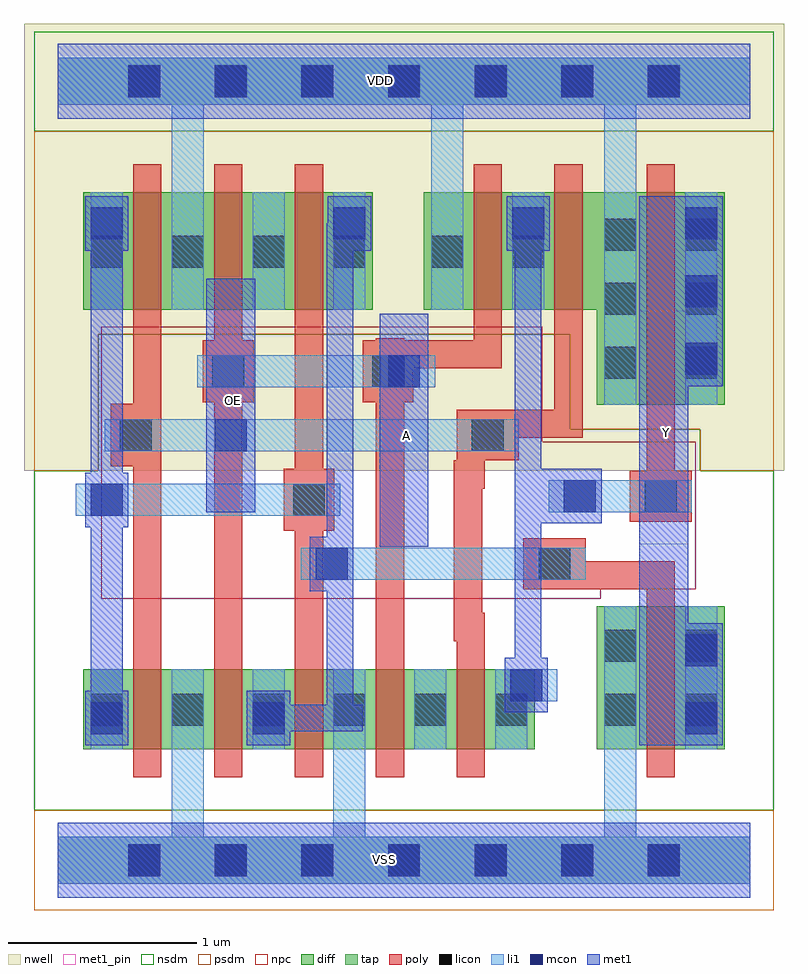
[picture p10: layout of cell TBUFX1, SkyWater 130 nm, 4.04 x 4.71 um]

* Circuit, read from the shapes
.subckt TBUFX1 A OE VDD VSS Y
XM1 VSS OE n1 VSS sky130_fd_pr__nfet_01v8 w=0.425 l=0.15
XM2 n2 A VSS VSS sky130_fd_pr__nfet_01v8 w=0.425 l=0.15
XM3 VSS n1 n2 VSS sky130_fd_pr__nfet_01v8 w=0.425 l=0.15
XM4 n3 A VSS VSS sky130_fd_pr__nfet_01v8 w=0.425 l=0.15
XM5 n4 OE n3 VSS sky130_fd_pr__nfet_01v8 w=0.425 l=0.15
XM6 Y n2 VSS VSS sky130_fd_pr__nfet_01v8 w=0.76 l=0.15
XM7 VDD OE n1 VDD sky130_fd_pr__pfet_01v8 w=0.625 l=0.15
XM8 n5 A VDD VDD sky130_fd_pr__pfet_01v8 w=0.625 l=0.15
XM9 n2 n1 n5 VDD sky130_fd_pr__pfet_01v8 w=0.625 l=0.15
XM10 n4 A VDD VDD sky130_fd_pr__pfet_01v8 w=0.625 l=0.15
XM11 VDD OE n4 VDD sky130_fd_pr__pfet_01v8 w=0.625 l=0.15
XM12 Y n4 VDD VDD sky130_fd_pr__pfet_01v8 w=1.13 l=0.15
.ends

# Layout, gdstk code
import gdstk
lib = gdstk.Library(unit=1e-6, precision=1e-09)
def R(c, l, rs):  # rectangles x0, y0, x1, y1
    for r in rs: c.add(gdstk.rectangle(r[:2], r[2:], *l))
def A(c, l, x, y, w, h, nx, ny, dx, dy):  # array of equal rectangles
    R(c, l, [(x+i*dx, y+j*dy, x+i*dx+w, y+j*dy+h) for i in range(nx) for j in range(ny)])
def P(c, l, *ps):  # polygons
    for p in ps: c.add(gdstk.Polygon(p, *l))
nwell = (64, 20)
diff = (65, 20)
tap = (65, 44)
poly = (66, 20)
licon = (66, 44)
li1 = (67, 20)
mcon = (67, 44)
met1_pin = (68, 16)
met1 = (68, 20)
nsdm = (93, 44)
psdm = (94, 20)
npc = (95, 20)

pyl1con_c_cdns_758728262 = lib.new_cell('PYL1CON_C_CDNS_758728262102')
R(pyl1con_c_cdns_758728262, poly, [(-0.135,-0.165,0.135,0.165)])
R(pyl1con_c_cdns_758728262, licon, [(-0.085,-0.085,0.085,0.085)])
R(pyl1con_c_cdns_758728262, npc, [(-0.185,-0.185,0.185,0.185)])

l1m1_c_cdns_758728262101 = lib.new_cell('L1M1_C_CDNS_7587282621012')
R(l1m1_c_cdns_758728262101, li1, [(-0.085,-0.525,0.085,0.525)])
A(l1m1_c_cdns_758728262101, mcon, -0.085, -0.445, 0.17, 0.17, 1, 3, 0, 0.36)
R(l1m1_c_cdns_758728262101, met1, [(-0.115,-0.505,0.115,0.505)])

c_pyl1con_c_cdns_758728262 = lib.new_cell('PYL1CON_C_CDNS_7587282621015')
R(c_pyl1con_c_cdns_758728262, poly, [(-0.165,-0.135,0.165,0.135)])
R(c_pyl1con_c_cdns_758728262, licon, [(-0.085,-0.085,0.085,0.085)])
R(c_pyl1con_c_cdns_758728262, npc, [(-0.185,-0.185,0.185,0.185)])

l1m1_c_cdns_758728262104 = lib.new_cell('L1M1_C_CDNS_758728262104')
R(l1m1_c_cdns_758728262104, li1, [(-0.085,-0.345,0.085,0.345)])
R(l1m1_c_cdns_758728262104, mcon, [(-0.085,-0.265,0.085,-0.095), (-0.085,0.095,0.085,0.265)])
R(l1m1_c_cdns_758728262104, met1, [(-0.115,-0.325,0.115,0.325)])

c_l1m1_c_cdns_758728262101 = lib.new_cell('L1M1_C_CDNS_758728262101')
R(c_l1m1_c_cdns_758728262101, li1, [(-0.085,-0.165,0.085,0.165)])
R(c_l1m1_c_cdns_758728262101, mcon, [(-0.085,-0.085,0.085,0.085)])
R(c_l1m1_c_cdns_758728262101, met1, [(-0.115,-0.145,0.115,0.145)])

l1m1_c_cdns_758728262100 = lib.new_cell('L1M1_C_CDNS_758728262100')
R(l1m1_c_cdns_758728262100, li1, [(-0.165,-0.085,0.165,0.085)])
R(l1m1_c_cdns_758728262100, mcon, [(-0.085,-0.085,0.085,0.085)])
R(l1m1_c_cdns_758728262100, met1, [(-0.115,-0.145,0.115,0.145)])

licondiff_c_cdns_7587282 = lib.new_cell('LICONDIFF_C_CDNS_7587282621010')
R(licondiff_c_cdns_7587282, diff, [(-0.125,-0.145,0.125,0.145)])
R(licondiff_c_cdns_7587282, licon, [(-0.085,-0.085,0.085,0.085), (-0.085,-0.085,0.085,0.085)])

tbufx1 = lib.new_cell('TBUFX1')
R(tbufx1, nwell, [(-0.18,2.07,3.86,4.445)])
R(tbufx1, diff, [(0.135,0.59,2.535,1.015), (2.865,0.59,3.545,1.35), (0.135,2.925,1.675,3.55)])
P(tbufx1, diff, [(3.545,3.55),(1.945,3.55),(1.945,2.925),(2.865,2.925),(2.865,2.42),(3.545,2.42)])
A(tbufx1, poly, 0.4, 0.44, 0.15, 3.26, 3, 1, 0.43, 0)
R(tbufx1, poly, [(3.13,1.88,3.28,3.7)])
P(tbufx1, poly, [(2.36,3.7),(2.21,3.7),(2.21,2.765),(1.84,2.765),(1.84,2.775),(1.69,2.775),(1.69,0.44),(1.84,0.44),(1.84,2.615),(2.36,2.615)],
  [(2.79,3.7),(2.64,3.7),(2.64,2.395),(2.12,2.395),(2.12,2.125),(2.105,2.125),(2.105,1.165),(2.12,1.165),(2.12,0.44),(2.27,0.44),(2.27,1.315),(2.255,1.315),(2.255,1.975),(2.27,1.975),(2.27,2.245),(2.79,2.245)],
  [(3.28,1.59),(2.5,1.59),(2.5,1.44),(3.13,1.44),(3.13,0.44),(3.28,0.44)])
A(tbufx1, licon, 0.375, -0.085, 0.17, 0.17, 7, 2, 0.46, 4.14)
A(tbufx1, licon, 0.175, 0.715, 0.17, 0.17, 4, 1, 0.43, 0)
A(tbufx1, licon, 2.905, 2.56, 0.17, 0.17, 1, 3, 0, 0.34)
A(tbufx1, licon, 3.335, 2.56, 0.17, 0.17, 1, 3, 0, 0.34)
R(tbufx1, licon, [(2.325,0.715,2.495,0.885), (2.905,0.715,3.075,0.885), (3.335,0.715,3.505,0.885), (2.905,1.055,3.075,1.225), (3.335,1.055,3.505,1.225), (0.175,3.15,0.345,3.32), (0.605,3.15,0.775,3.32), (1.465,3.15,1.635,3.32), (1.985,3.15,2.155,3.32), (2.415,3.15,2.585,3.32)])
R(tbufx1, li1, [(0.175,0.59,0.345,1.015), (1.035,0.59,1.205,1.015), (2.325,0.59,2.495,1.015), (3.335,0.59,3.505,1.35), (3.335,2.42,3.505,3.55), (0.175,2.925,0.345,3.55), (1.465,2.925,1.635,3.55), (2.415,2.925,2.585,3.55)])
P(tbufx1, li1, [(3.68,4.265),(0,4.265),(0,4.015),(0.605,4.015),(0.605,2.925),(0.775,2.925),(0.775,4.015),(1.985,4.015),(1.985,2.925),(2.155,2.925),(2.155,4.015),(2.905,4.015),(2.905,2.42),(3.075,2.42),(3.075,4.015),(3.68,4.015)],
  [(3.68,0.125),(3.075,0.125),(3.075,1.35),(2.905,1.35),(2.905,0.125),(1.635,0.125),(1.635,1.015),(1.465,1.015),(1.465,0.125),(0.775,0.125),(0.775,1.015),(0.605,1.015),(0.605,0.125),(0,0.125),(0,-0.125),(3.68,-0.125)])
A(tbufx1, mcon, 0.375, -0.085, 0.17, 0.17, 7, 2, 0.46, 4.14)
R(tbufx1, met1_pin, [(1.71,1.665,1.97,2.905), (3.09,1.68,3.35,2.92), (0.79,1.85,1.05,3.09)])
P(tbufx1, met1, [(1.62,0.825),(1.57,0.825),(1.57,3.385),(1.43,3.385),(1.43,0.825),(1.12,0.825),(1.12,0.685),(1.62,0.685)],
  [(2.66,2.08),(2.57,2.08),(2.57,3.385),(2.43,3.385),(2.43,0.93),(2.57,0.93),(2.57,1.79),(2.66,1.79)])
R(tbufx1, nsdm, [(-0.125,3.875,3.805,4.405)])
P(tbufx1, nsdm, [(3.805,2.07),(3.415,2.07),(3.415,2.29),(2.725,2.29),(2.725,2.795),(0.215,2.795),(0.215,2.07),(-0.125,2.07),(-0.125,0.265),(3.805,0.265)])
R(tbufx1, psdm, [(-0.125,-0.265,3.805,0.265)])
P(tbufx1, psdm, [(3.805,3.875),(-0.125,3.875),(-0.125,2.07),(0.215,2.07),(0.215,2.795),(2.725,2.795),(2.725,2.29),(3.415,2.29),(3.415,2.07),(3.805,2.07)])
P(tbufx1, npc, [(3.39,2.225),(2.575,2.225),(2.575,2.835),(0.23,2.835),(0.23,1.39),(2.885,1.39),(2.885,1.44),(3.39,1.44)])
tbufx1.add(gdstk.FlexPath([(1.12,2.925),(1.12,3.55)], 0.17, ends="flush", simple_path=True, layer=67, datatype=20))  # li1
tbufx1.add(gdstk.FlexPath([(2.61,1.935),(3.37,1.935)], 0.17, ends="flush", simple_path=True, layer=67, datatype=20))  # li1
tbufx1.add(gdstk.FlexPath([(2.805,1.575),(1.55,1.575)], 0.17, ends="flush", simple_path=True, layer=67, datatype=20))  # li1
tbufx1.add(gdstk.FlexPath([(1.5,1.915),(0.26,1.915)], 0.17, ends="flush", simple_path=True, layer=67, datatype=20))  # li1
tbufx1.add(gdstk.FlexPath([(1.98,0.59),(1.98,1.015)], 0.17, ends="flush", simple_path=True, layer=67, datatype=20))  # li1
tbufx1.add(gdstk.FlexPath([(2.45,2.26),(0.25,2.26)], 0.17, ends="flush", simple_path=True, layer=67, datatype=20))  # li1
tbufx1.add(gdstk.FlexPath([(1.99,2.6),(0.74,2.6)], 0.17, ends="flush", simple_path=True, layer=67, datatype=20))  # li1
tbufx1.add(gdstk.FlexPath([(0,4.14),(3.68,4.14)], 0.25, ends="flush", simple_path=True, layer=65, datatype=44))  # tap
tbufx1.add(gdstk.FlexPath([(0,0),(3.68,0)], 0.25, ends="flush", simple_path=True, layer=65, datatype=44))  # tap
tbufx1.add(gdstk.FlexPath([(0,0),(3.68,0)], 0.4, ends="flush", simple_path=True, layer=68, datatype=16))  # met1_pin
tbufx1.add(gdstk.FlexPath([(0,4.14),(3.68,4.14)], 0.4, ends="flush", simple_path=True, layer=68, datatype=16))  # met1_pin
tbufx1.add(gdstk.FlexPath([(0,4.14),(3.68,4.14)], 0.4, ends="flush", simple_path=True, layer=68, datatype=20))  # met1
tbufx1.add(gdstk.FlexPath([(0.92,1.85),(0.92,3.09)], 0.26, ends="flush", simple_path=True, layer=68, datatype=20))  # met1
tbufx1.add(gdstk.FlexPath([(3.22,0.61),(3.22,3.53)], 0.26, ends="flush", simple_path=True, layer=68, datatype=20))  # met1
tbufx1.add(gdstk.FlexPath([(0.26,0.755),(0.26,3.385)], 0.17, ends="flush", simple_path=True, layer=68, datatype=20))  # met1
tbufx1.add(gdstk.FlexPath([(1.84,1.665),(1.84,2.905)], 0.26, ends="flush", simple_path=True, layer=68, datatype=20))  # met1
tbufx1.add(gdstk.FlexPath([(0,0),(3.68,0)], 0.4, ends="flush", simple_path=True, layer=68, datatype=20))  # met1
tbufx1.add(gdstk.Reference(pyl1con_c_cdns_758728262, (1.335,1.915), x_reflection=True))
tbufx1.add(gdstk.Reference(pyl1con_c_cdns_758728262, (1.755,2.6), x_reflection=True))
tbufx1.add(gdstk.Reference(pyl1con_c_cdns_758728262, (0.415,2.26), x_reflection=True))
tbufx1.add(gdstk.Reference(pyl1con_c_cdns_758728262, (0.905,2.6), x_reflection=True))
tbufx1.add(gdstk.Reference(l1m1_c_cdns_758728262101, (3.42,3.025)))
tbufx1.add(gdstk.Reference(c_pyl1con_c_cdns_758728262, (2.64,1.575), x_reflection=True))
tbufx1.add(gdstk.Reference(c_pyl1con_c_cdns_758728262, (3.205,1.935), x_reflection=True))
tbufx1.add(gdstk.Reference(c_pyl1con_c_cdns_758728262, (2.285,2.26), x_reflection=True))
tbufx1.add(gdstk.Reference(l1m1_c_cdns_758728262104, (3.42,0.935)))
tbufx1.add(gdstk.Reference(c_l1m1_c_cdns_758728262101, (0.26,3.385)))
tbufx1.add(gdstk.Reference(c_l1m1_c_cdns_758728262101, (0.26,0.755)))
tbufx1.add(gdstk.Reference(c_l1m1_c_cdns_758728262101, (1.55,3.385)))
tbufx1.add(gdstk.Reference(c_l1m1_c_cdns_758728262101, (2.5,3.385)))
tbufx1.add(gdstk.Reference(c_l1m1_c_cdns_758728262101, (1.12,0.755)))
tbufx1.add(gdstk.Reference(l1m1_c_cdns_758728262100, (0.92,2.26), x_reflection=True))
tbufx1.add(gdstk.Reference(l1m1_c_cdns_758728262100, (2.49,0.93)))
tbufx1.add(gdstk.Reference(l1m1_c_cdns_758728262100, (2.775,1.935)))
tbufx1.add(gdstk.Reference(l1m1_c_cdns_758728262100, (0.26,1.915)))
tbufx1.add(gdstk.Reference(l1m1_c_cdns_758728262100, (1.84,2.6), x_reflection=True))
tbufx1.add(gdstk.Reference(l1m1_c_cdns_758728262100, (1.455,1.575)))
tbufx1.add(gdstk.Reference(licondiff_c_cdns_7587282, (1.12,3.235)))
tbufx1.add(gdstk.Reference(licondiff_c_cdns_7587282, (1.98,0.8)))
tbufx1.add(gdstk.Label('VDD', (1.715,4.145), layer=68, texttype=5))
tbufx1.add(gdstk.Label('OE', (0.935,2.445), layer=68, texttype=5))
tbufx1.add(gdstk.Label('Y', (3.235,2.275), layer=68, texttype=5))
tbufx1.add(gdstk.Label('A', (1.855,2.26), layer=68, texttype=5))
tbufx1.add(gdstk.Label('VSS', (1.735,0.005), layer=68, texttype=5))

lib.write_gds('TBUFX1.gds')
